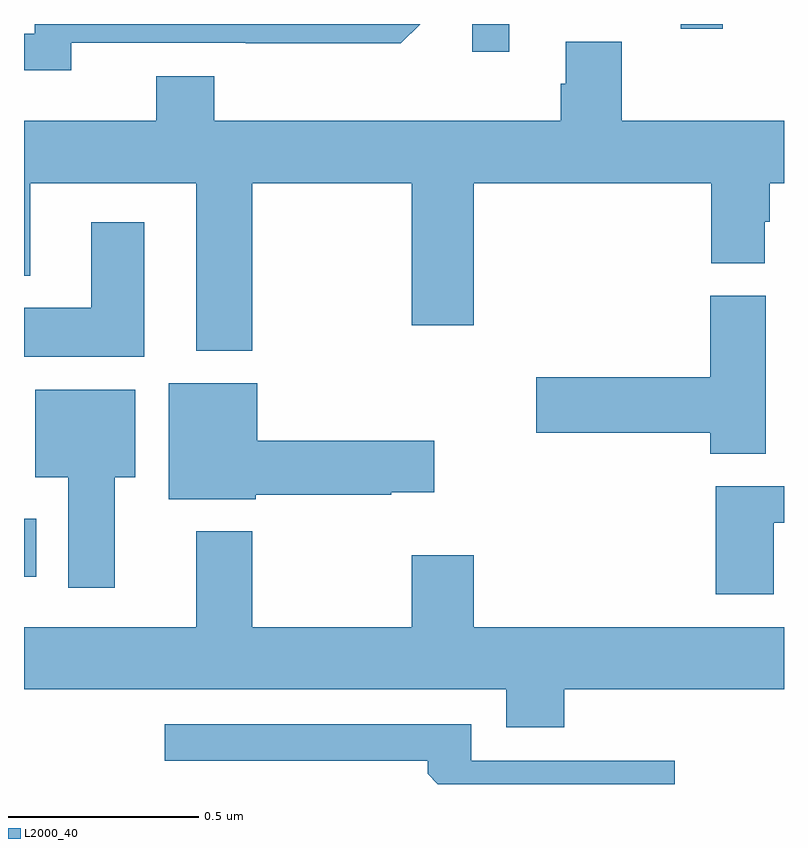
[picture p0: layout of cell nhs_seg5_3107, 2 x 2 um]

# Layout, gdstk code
import gdstk
lib = gdstk.Library(unit=1e-6, precision=1e-09)
def R(c, l, rs):  # rectangles x0, y0, x1, y1
    for r in rs: c.add(gdstk.rectangle(r[:2], r[2:], *l))
def P(c, l, *ps):  # polygons
    for p in ps: c.add(gdstk.Polygon(p, *l))
L2000_40 = (2000, 40)

nhs_seg5_3107 = lib.new_cell('nhs_seg5_3107')
R(nhs_seg5_3107, L2000_40, [(152,902.345,152.032,902.497), (153.18,903.726,153.277,903.799), (153.728,903.786,153.839,903.799)])
P(nhs_seg5_3107, L2000_40, [(152.124,903.75),(152.584,903.75),(152.584,903.749),(152.992,903.749),(153.043,903.799),(152.028,903.799),(152.028,903.774),(152,903.774),(152,903.677),(152.124,903.677)],
  [(152.601,903.38),(153.02,903.38),(153.02,903.006),(153.184,903.006),(153.184,903.38),(153.809,903.38),(153.809,903.169),(153.949,903.169),(153.949,903.279),(153.962,903.279),(153.962,903.38),(154,903.38),(154,903.544),(153.573,903.544),(153.573,903.752),(153.425,903.752),(153.425,903.642),(153.413,903.642),(153.413,903.544),(152.501,903.544),(152.501,903.661),(152.348,903.661),(152.348,903.544),(152,903.544),(152,903.137),(152.017,903.137),(152.017,903.38),(152.453,903.38),(152.453,902.939),(152.601,902.939)],
  [(152.317,903.277),(152.177,903.277),(152.177,903.052),(152,903.052),(152,902.924),(152.317,902.924)],
  [(153.952,903.084),(153.806,903.084),(153.806,902.87),(153.348,902.87),(153.348,902.723),(153.806,902.723),(153.806,902.668),(153.952,902.668)],
  [(152.61,902.56),(152.966,902.56),(152.966,902.567),(153.079,902.567),(153.079,902.702),(152.614,902.702),(152.614,902.854),(152.381,902.854),(152.381,902.549),(152.61,902.549)],
  [(152.239,902.606),(152.293,902.606),(152.293,902.836),(152.03,902.836),(152.03,902.606),(152.117,902.606),(152.117,902.316),(152.239,902.316)],
  [(153.973,902.487),(154,902.487),(154,902.583),(153.821,902.583),(153.821,902.298),(153.973,902.298)],
  [(153.422,902.048),(154,902.048),(154,902.212),(153.184,902.212),(153.184,902.401),(153.02,902.401),(153.02,902.212),(152.601,902.212),(152.601,902.464),(152.453,902.464),(152.453,902.212),(152,902.212),(152,902.048),(153.269,902.048),(153.269,901.949),(153.422,901.949)],
  [(153.712,901.86),(153.177,901.86),(153.177,901.956),(152.37,901.956),(152.37,901.86),(153.062,901.86),(153.062,901.826),(153.089,901.799),(153.712,901.799)])

lib.write_gds('nhs_seg5_3107.gds')
